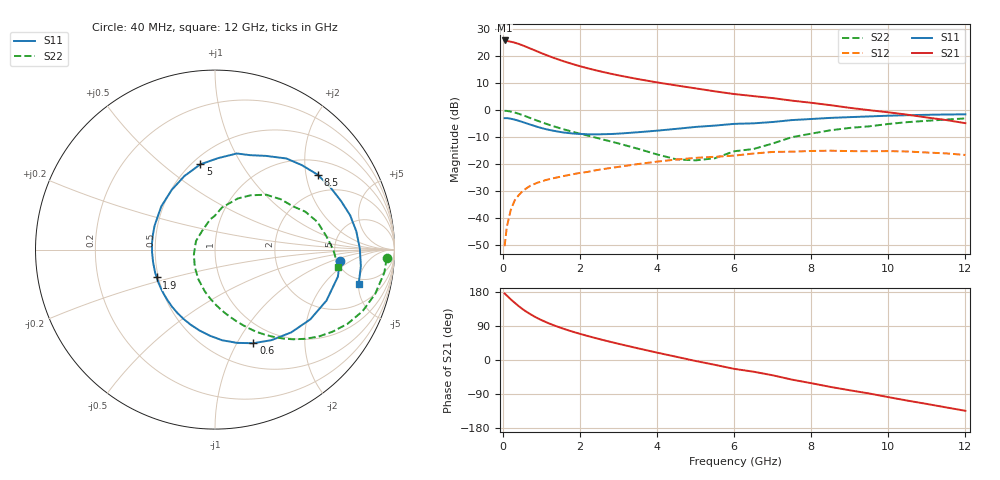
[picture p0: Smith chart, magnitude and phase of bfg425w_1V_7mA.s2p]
! Filename: 17bfg425.001
! BFG425W Field C1
! V1=8.436E-001V,V2=1.000E+000V, I1=1.005E-004A, I2=7.010E-003A
# GHz  S  MA  R 50
!  S11  S21  S12  S22
!Freq(GHz)  Mag  Ang  Mag  Ang  Mag  Ang  Mag  Ang
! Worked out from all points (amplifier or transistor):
!   44 points, 40 MHz to 12 GHz, reference 50 ohm
!   highest |S21| = 25.6 dB at 40 MHz (marker M1)
!   |S21| within 3 dB of that: start of sweep to 709 MHz
!   unconditionally stable (mu >= 1): 2.1 GHz to end of sweep
!   at 700 MHz: K = 0.44, MSG = 25.4 dB, |S12| = -28.2 dB
!   at 2.4 GHz: K = 1.07, MAG = 16.9 dB, |S12| = -22.4 dB
!   at 12 GHz: K = 1.43, MAG = 2.0 dB, |S12| = -16.7 dB
!   S11 on the Smith chart (normalised r, x): 40 MHz: 5.32, -1.29; 600 MHz: 0.77, -1.17; 1.9 GHz: 0.49, -0.17; 5 GHz: 0.55, +0.68; 8.5 GHz: 1.39, +2.33; 12 GHz: 4.21, -5.00
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0.04  0.699 -5.1  19.15 175.6  0.003 82.4  0.958 -2.9
0.2  0.683 -24.6  18.17 160.0  0.014 76.6  0.926 -15.5
0.3  0.658 -36.2  17.46 151.2  0.021 70.6  0.891 -22.6
0.4  0.627 -47.4  16.56 142.7  0.026 65.1  0.847 -29.2
0.5  0.595 -57.9  15.62 134.8  0.031 60.6  0.799 -34.9
0.6  0.564 -67.7  14.6 127.8  0.035 56.6  0.753 -40.1
0.8  0.507 -85.4  12.75 115.5  0.042 50.2  0.664 -48.8
0.9  0.481 -93.3  11.91 110.1  0.045 47.8  0.624 -52.6
1.1  0.44 -107.9  10.43 100.6  0.05 43.8  0.556 -59.0
1.3  0.41 -120.9  9.211 92.3  0.054 40.8  0.499 -64.6
1.5  0.387 -133.0  8.215 84.9  0.058 38.5  0.451 -69.4
1.9  0.36 -154.5  6.691 71.9  0.066 34.7  0.376 -78.4
2.2  0.352 -168.7  5.848 63.3  0.071 32.1  0.332 -85.0
3  0.362 158.5  4.328 42.7  0.088 24.5  0.238 -104.1
3.5  0.384 141.3  3.698 30.8  0.099 18.9  0.19 -119.1
4.5  0.444 112.5  2.818 8.5  0.12 6.0  0.121 -166.6
5  0.482 99.8  2.486 -2.6  0.129 -1.8  0.116 156.0
6.5  0.561 69.7  1.79 -30.9  0.155 -19.3  0.188 90.4
7.5  0.645 51.9  1.475 -51.8  0.168 -38.0  0.312 65.9
8.5  0.708 36.1  1.216 -71.1  0.175 -54.4  0.418 47.0
10.5  0.794 7.4  0.81 -107.2  0.169 -87.8  0.591 15.1
12  0.823 -13.5  0.565 -134.0  0.146 -116.3  0.692 -7.9
